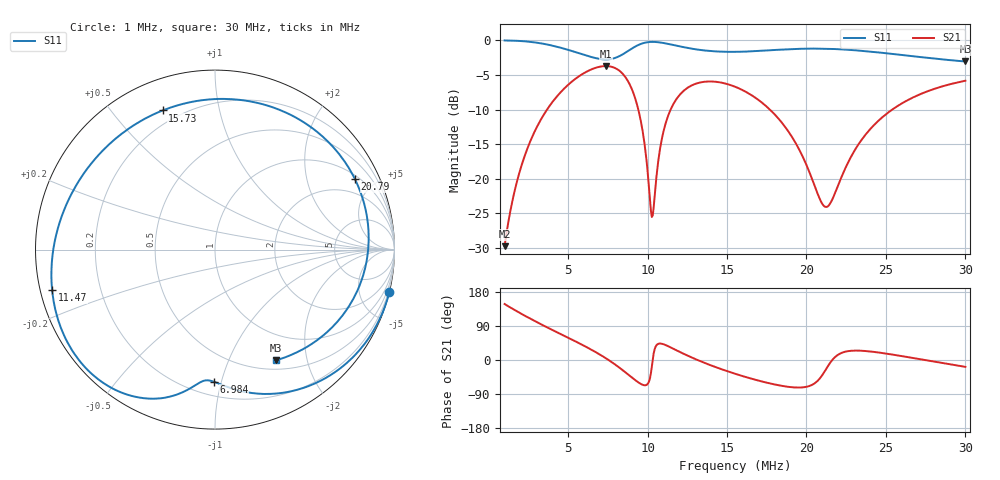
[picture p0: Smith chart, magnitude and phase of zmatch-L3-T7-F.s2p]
# HZ S RI R 50
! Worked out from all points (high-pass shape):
!   505 points, 1 MHz to 30 MHz, reference 50 ohm
!   highest |S21| = -3.70 dB at 7.387 MHz (marker M1); lowest = -29.7 dB at 1 MHz (marker M2)
!   |S21| within 3 dB of the highest: 4.863 MHz to 8.944 MHz (4.082 MHz wide, 59.1 % of centre); 12.61 MHz to 15.52 MHz (2.905 MHz wide, 20.7 % of centre)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
!   lowest |S11| = -3.0 dB at 30 MHz (marker M3), VSWR 5.78, Z = 30.8 - j75.7 ohm
!   |S11| at or under -10 dB: nowhere
!   S12 and S22 are empty: the file has one direction only
!   S11 on the Smith chart (normalised r, x): 1 MHz: -0.00, -8.41; 6.984 MHz: 0.29, -0.95; 11.47 MHz: 0.03, -0.12; 15.73 MHz: 0.14, +0.68; 20.79 MHz: 1.18, +3.88; 30 MHz: 0.62, -1.51
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1000000  0.9722 -0.2345  -0.0276 0.0174  0 0  0 0
1805560  0.902 -0.4177  -0.0602 0.0778  0 0  0 0
2783740  0.7553 -0.6122  -0.0544 0.1995  0 0  0 0
5833360  0.1373 -0.7862  0.4261 0.3726  0 0  0 0
6984160  -0.00744 -0.7358  0.6248 0.1633  0 0  0 0
7386940  -0.0409 -0.7283  0.6513 0.048  0 0  0 0
8480200  -0.1581 -0.7839  0.4976 -0.2698  0 0  0 0
9228220  -0.358 -0.8306  0.2258 -0.3036  0 0  0 0
9746080  -0.5513 -0.7835  0.0806 -0.1832  0 0  0 0
1.026394e7  -0.7245 -0.655  0.0505 -0.0161  0 0  0 0
1.066672e7  -0.8203 -0.5196  0.0985 0.0903  0 0  0 0
1.147228e7  -0.9074 -0.2261  0.2697 0.1739  0 0  0 0
1.325602e7  -0.7906 0.3273  0.495 -0.0176  0 0  0 0
1.550008e7  -0.3481 0.7507  0.3735 -0.2739  0 0  0 0
1.573024e7  -0.2919 0.7752  0.3495 -0.2859  0 0  0 0
1.785922e7  0.2513 0.8137  0.1362 -0.2711  0 0  0 0
2.033344e7  0.7296 0.4799  0.0412 -0.0922  0 0  0 0
2.079376e7  0.7803 0.3915  0.0464 -0.0569  0 0  0 0
2.14267e7  0.8281 0.2662  0.0635 -0.0125  0 0  0 0
2.321044e7  0.8439 -0.0683  0.1574 0.0727  0 0  0 0
2.51668e7  0.7285 -0.3423  0.2914 0.0829  0 0  0 0
3.000016e7  0.3406 -0.6171  0.4864 -0.1591  0 0  0 0
